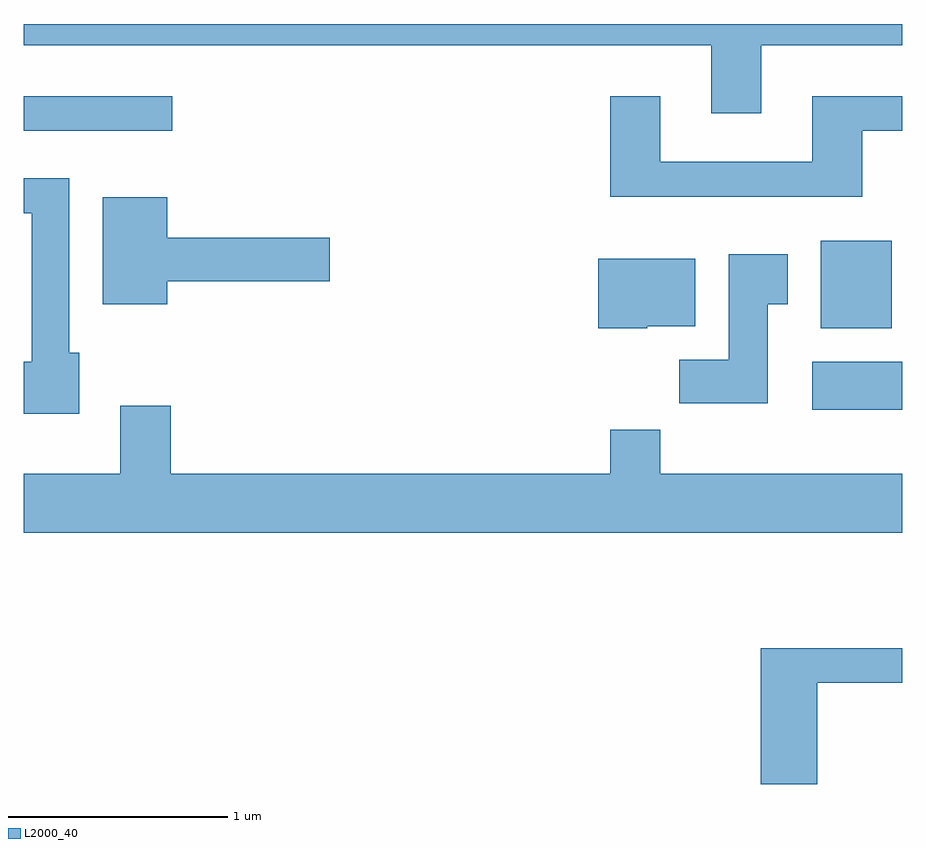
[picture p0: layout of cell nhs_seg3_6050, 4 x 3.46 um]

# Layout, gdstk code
import gdstk
lib = gdstk.Library(unit=1e-6, precision=1e-09)
def R(c, l, rs):  # rectangles x0, y0, x1, y1
    for r in rs: c.add(gdstk.rectangle(r[:2], r[2:], *l))
def P(c, l, *ps):  # polygons
    for p in ps: c.add(gdstk.Polygon(p, *l))
L2000_40 = (2000, 40)

nhs_seg3_6050 = lib.new_cell('nhs_seg3_6050')
R(nhs_seg3_6050, L2000_40, [(367.201,1122.136,367.611,1122.354), (367.241,1122.506,367.564,1122.904), (363.611,1123.406,364.288,1123.564)])
P(nhs_seg3_6050, L2000_40, [(366.969,1123.796),(367.611,1123.796),(367.611,1123.892),(363.611,1123.892),(363.611,1123.796),(366.741,1123.796),(366.741,1123.486),(366.969,1123.486)],
  [(367.429,1123.406),(367.611,1123.406),(367.611,1123.564),(367.201,1123.564),(367.201,1123.264),(366.509,1123.264),(366.509,1123.564),(366.281,1123.564),(366.281,1123.106),(367.429,1123.106)],
  [(363.864,1122.394),(363.819,1122.394),(363.819,1123.189),(363.611,1123.189),(363.611,1123.031),(363.646,1123.031),(363.646,1122.354),(363.611,1122.354),(363.611,1122.116),(363.864,1122.116)],
  [(364.264,1122.721),(365.004,1122.721),(365.004,1122.919),(364.264,1122.919),(364.264,1123.104),(363.971,1123.104),(363.971,1122.616),(364.264,1122.616)],
  [(366.999,1122.616),(367.089,1122.616),(367.089,1122.844),(366.821,1122.844),(366.821,1122.364),(366.596,1122.364),(366.596,1122.166),(366.999,1122.166)],
  [(366.45,1122.516),(366.669,1122.516),(366.669,1122.824),(366.226,1122.824),(366.226,1122.506),(366.45,1122.506)],
  [(367.611,1121.844),(366.509,1121.844),(366.509,1122.044),(366.281,1122.044),(366.281,1121.844),(364.279,1121.844),(364.279,1122.154),(364.051,1122.154),(364.051,1121.844),(363.611,1121.844),(363.611,1121.576),(367.611,1121.576)],
  [(367.224,1120.891),(367.611,1120.891),(367.611,1121.049),(366.966,1121.049),(366.966,1120.431),(367.224,1120.431)])

lib.write_gds('nhs_seg3_6050.gds')
